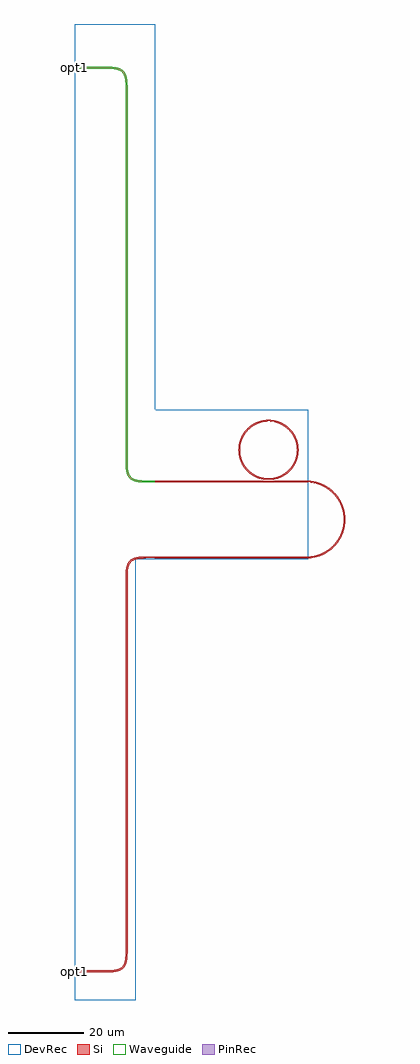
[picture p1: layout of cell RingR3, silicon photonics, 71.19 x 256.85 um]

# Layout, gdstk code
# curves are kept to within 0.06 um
import gdstk
lib = gdstk.Library(unit=1e-6, precision=1e-09)
def R(c, l, rs):  # rectangles x0, y0, x1, y1
    for r in rs: c.add(gdstk.rectangle(r[:2], r[2:], *l))
def P(c, l, *ps):  # polygons
    for p in ps: c.add(gdstk.Polygon(p, *l))
Si = (1, 0)
PinRec = (1, 10)
Waveguide = (1, 99)
DevRec = (68, 0)

ringr3 = lib.new_cell('RingR3')
R(ringr3, Si, [(40.991,116.243,61.246,116.643), (40.991,136.243,61.131,136.643)])
P(ringr3, Si, [(18.639,136.193),(17.21,136.249),(16.192,136.401),(15.344,136.674),(14.658,137.092),(14.132,137.672),(13.766,138.411),(13.537,139.313),(13.419,140.394),(13.392,240.326),(13.254,242.371),(13.002,243.308),(12.607,243.994),(11.945,244.536),(11.121,244.848),(10.201,245.005),(9.069,245.072),(0.01,245.076),(0.01,245.576),(9.079,245.572),(11.091,245.369),(12.185,244.974),(12.908,244.409),(13.411,243.624),(13.746,242.457),(13.892,240.329),(13.909,140.614),(14.057,139.247),(14.328,138.35),(14.745,137.697),(15.338,137.234),(16.162,136.922),(17.256,136.747),(20.991,136.693),(20.991,136.193)],
  [(0.01,7.31),(0.01,7.81),(9.069,7.814),(10.983,8.005),(11.945,8.35),(12.538,8.813),(12.955,9.466),(13.226,10.363),(13.353,11.353),(13.392,12.56),(13.432,112.685),(13.599,113.892),(13.931,114.865),(14.465,115.62),(15.098,116.09),(15.891,116.408),(17.028,116.619),(20.991,116.693),(20.991,116.193),(17.256,116.139),(16.162,115.964),(15.338,115.652),(14.745,115.189),(14.328,114.536),(14.087,113.784),(13.93,112.649),(13.892,12.557),(13.851,11.317),(13.716,10.267),(13.352,9.137),(12.819,8.383),(12.064,7.849),(11.091,7.517),(9.079,7.314)],
  [(20.991,116.193),(20.991,116.693),(40.991,116.643),(40.991,116.243)],
  [(43.091,144.923),(43.256,146.373),(43.686,147.768),(44.196,148.788),(44.666,148.788),(44.196,147.938),(43.841,147.028),(43.581,145.928),(43.491,144.923)],
  [(67.046,134.148),(66.141,134.783),(64.981,135.393),(65.886,135.393),(66.351,135.123),(67.031,134.663),(67.671,134.148)],
  [(49.636,152.133),(49.636,152.538),(50.676,152.653),(51.401,152.648),(52.116,152.578),(52.826,152.443),(53.471,152.258),(50.691,152.253)],
  [(20.991,136.193),(20.991,136.693),(40.991,136.643),(40.991,136.243)],
  [(54.996,151.098),(53.981,151.638),(53.061,151.968),(52.056,152.183),(51.121,152.258),(53.471,152.258),(54.366,151.903),(54.996,151.563)],
  [(58.491,144.923),(58.436,145.683),(58.321,146.358),(57.916,147.638),(57.916,148.558),(58.466,147.318),(58.681,146.578),(58.811,145.893),(58.891,144.923)],
  [(45.806,150.718),(46.571,151.308),(47.556,151.873),(48.506,152.258),(49.636,152.538),(49.636,152.133),(48.956,151.978),(48.036,151.653),(47.196,151.228),(46.441,150.718)],
  [(53.946,137.863),(54.741,138.258),(55.636,138.868),(56.261,138.868),(55.501,138.268),(54.851,137.863)],
  [(61.246,116.243),(61.246,116.643),(62.541,116.763),(63.581,116.988),(64.586,117.323),(65.556,117.773),(65.556,117.318),(64.431,116.838),(62.886,116.418)],
  [(56.931,149.333),(56.081,150.268),(54.996,151.098),(54.996,151.563),(55.956,150.903),(56.861,150.048),(56.931,149.963)],
  [(65.556,117.318),(65.556,117.773),(66.671,118.453),(67.776,119.368),(68.681,120.363),(69.421,121.443),(69.881,121.443),(68.906,120.003),(67.926,118.958),(66.961,118.168)],
  [(55.636,138.868),(56.591,139.763),(57.416,140.883),(57.876,140.883),(57.156,139.813),(56.261,138.868)],
  [(57.916,147.638),(57.476,148.528),(56.931,149.333),(56.931,149.963),(57.511,149.223),(57.916,148.558)],
  [(57.416,140.883),(57.891,141.813),(58.256,142.888),(58.441,143.873),(58.491,144.923),(58.891,144.923),(58.796,143.523),(58.416,142.053),(57.876,140.883)],
  [(69.301,131.633),(68.341,132.928),(67.716,133.573),(67.046,134.148),(67.671,134.148),(68.641,133.193),(69.201,132.498),(69.771,131.633)],
  [(64.981,135.393),(64.026,135.763),(63.131,136.008),(62.081,136.183),(61.131,136.243),(61.131,136.643),(62.621,136.513),(64.116,136.153),(65.026,135.813),(65.886,135.393)],
  [(50.771,136.858),(49.811,136.943),(48.861,137.148),(47.891,137.488),(47.126,137.868),(48.026,137.868),(48.671,137.623),(49.481,137.408),(50.786,137.258)],
  [(50.786,136.858),(50.786,137.258),(51.576,137.278),(52.281,137.368),(53.051,137.543),(53.946,137.863),(54.851,137.863),(53.711,137.338),(52.811,137.068),(51.716,136.888)],
  [(47.126,137.868),(46.446,138.293),(45.711,138.878),(46.336,138.878),(47.141,138.318),(48.026,137.868)],
  [(44.196,148.788),(44.931,149.828),(45.741,150.663),(45.806,150.718),(46.441,150.718),(45.461,149.828),(44.666,148.788)],
  [(45.711,138.878),(44.836,139.803),(44.096,140.898),(44.561,140.898),(45.366,139.793),(46.336,138.878)],
  [(44.096,140.898),(43.641,141.858),(43.301,142.938),(43.136,143.893),(43.091,144.923),(43.491,144.923),(43.546,143.833),(43.756,142.773),(44.106,141.778),(44.561,140.898)],
  [(69.421,121.443),(70.021,122.628),(70.476,123.968),(70.716,125.218),(70.791,126.638),(71.191,126.638),(71.161,125.628),(71.056,124.778),(70.636,123.118),(70.276,122.213),(69.881,121.443)],
  [(70.791,126.638),(70.681,127.923),(70.416,129.133),(69.946,130.428),(69.301,131.633),(69.791,131.603),(70.326,130.558),(70.741,129.448),(71.071,128.018),(71.191,126.638)])
P(ringr3, Waveguide, [(18.639,136.193),(17.21,136.249),(16.192,136.401),(15.344,136.674),(14.658,137.092),(14.132,137.672),(13.766,138.411),(13.537,139.313),(13.419,140.394),(13.392,240.326),(13.254,242.371),(13.002,243.308),(12.607,243.994),(11.945,244.536),(11.121,244.848),(10.201,245.005),(9.069,245.072),(0.01,245.076),(0.01,245.576),(9.079,245.572),(11.091,245.369),(12.185,244.974),(12.908,244.409),(13.411,243.624),(13.746,242.457),(13.892,240.329),(13.909,140.614),(14.057,139.247),(14.328,138.35),(14.745,137.697),(15.338,137.234),(16.162,136.922),(17.256,136.747),(20.991,136.693),(20.991,136.193)])
P(ringr3, DevRec, [(0.01,0),(0.01,256.845),(21.206,256.845),(21.206,155.303),(61.391,155.303),(61.391,115.928),(16.029,115.928),(16.029,0)])
ringr3.add(gdstk.FlexPath([(0.02,245.326),(0,245.326)], 0.5, ends="flush", simple_path=True, layer=1, datatype=10))  # PinRec
ringr3.add(gdstk.FlexPath([(0.02,7.56),(0,7.56)], 0.5, ends="flush", simple_path=True, layer=1, datatype=10))  # PinRec
ringr3.add(gdstk.Label('opt1', (0.01,245.326), layer=1, texttype=10))
ringr3.add(gdstk.Label('opt1', (0.01,7.56), layer=1, texttype=10))
ringr3.add(gdstk.Label('Lumerical_INTERCONNECT_library=Design kits/EBeam', (0.01,245.226), layer=68, texttype=0))
ringr3.add(gdstk.Label('Component=ebeam_wg_integral_1550', (0.01,245.426), layer=68, texttype=0))
ringr3.add(gdstk.Label('cellName=Waveguide', (0.01,245.526), layer=68, texttype=0))
ringr3.add(gdstk.Label('Spice_param:wg_length=0.000126761 wg_width=5e-07 points="[[63.521,-793.963],[77.153,-793.963],[77.153,-902.846],[84.502,-902.846]]" radius=5e-06', (0.01,245.326), layer=68, texttype=0))
ringr3.add(gdstk.Label('Length=126.761 (microns)', (0.01,244.726), layer=68, texttype=0))
ringr3.add(gdstk.Label('waveguide_type=Strip TE 1550 nm, w=500 nm', (0.01,245.126), layer=68, texttype=0))
ringr3.add(gdstk.Label('Lumerical_INTERCONNECT_library=Design kits/EBeam', (0.01,7.46), layer=68, texttype=0))
ringr3.add(gdstk.Label('Component=ebeam_wg_integral_1550', (0.01,7.66), layer=68, texttype=0))
ringr3.add(gdstk.Label('cellName=Waveguide', (0.01,7.76), layer=68, texttype=0))
ringr3.add(gdstk.Label('waveguide_type=Strip TE 1550 nm, w=500 nm', (0.01,7.36), layer=68, texttype=0))

lib.write_gds('RingR3.gds')
